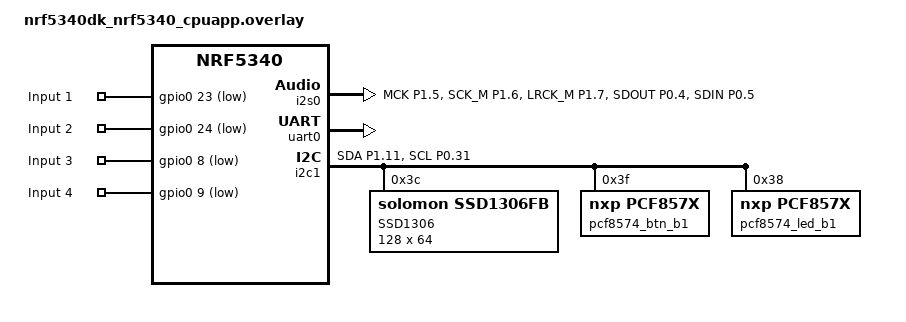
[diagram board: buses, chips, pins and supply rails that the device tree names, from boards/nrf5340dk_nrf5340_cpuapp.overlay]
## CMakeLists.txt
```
cmake_minimum_required(VERSION 3.20.0)
find_package(Zephyr REQUIRED HINTS $ENV{ZEPHYR_BASE})

project(wmic)

target_sources(app PRIVATE 
    src/main.c
    src/pages.c
    src/veeprom.c
    src/audio_drv/audio_drv.c
    src/DSP/low_pass_filter.c
    src/DSP/adt.c
    src/DSP/signals.c
    src/bluetooth_drv/bluetooth_drv.c
    src/display_drv/display_drv.c
    src/keypad_drv/keypad_drv.c
)

zephyr_library_include_directories(
  src/
  src/bluetooth_drv/
  src/DSP/
  src/audio_drv/
  src/display_drv/
  src/keypad_drv/ 
)

# Include the local CMSIS_DSP headers and compile only needed sources
zephyr_library_include_directories(
  ${CMAKE_CURRENT_SOURCE_DIR}/../modules/CMSIS_DSP/Include
  ${CMAKE_CURRENT_SOURCE_DIR}/../modules/CMSIS_DSP/PrivateInclude
)

# Compile only CMSIS_DSP Filtering Functions (FIR) and Support Functions needed
file(GLOB CMSIS_DSP_FILTERING_SOURCES 
  ${CMAKE_CURRENT_SOURCE_DIR}/../modules/CMSIS_DSP/Source/FilteringFunctions/arm_fir*.c
)

file(GLOB CMSIS_DSP_SUPPORT_SOURCES 
  ${CMAKE_CURRENT_SOURCE_DIR}/../modules/CMSIS_DSP/Source/SupportFunctions/arm_*_f32.c
  ${CMAKE_CURRENT_SOURCE_DIR}/../modules/CMSIS_DSP/Source/SupportFunctions/arm_*_q15.c
)

target_sources(app PRIVATE ${CMSIS_DSP_FILTERING_SOURCES} ${CMSIS_DSP_SUPPORT_SOURCES})
```

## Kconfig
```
#
# Copyright (c) 2018 Nordic Semiconductor ASA
#
# SPDX-License-Identifier: LicenseRef-Nordic-5-Clause
#

menuconfig NRF5340_AUDIO
	 bool "nRF5340 Audio [EXPERIMENTAL]"
	 select EXPERIMENTAL

if NRF5340_AUDIO

choice NRF5340_AUDIO_TRANSPORT_MODE
	prompt "Choose BIS or CIS for ISO transport"
	default TRANSPORT_CIS

config TRANSPORT_BIS
	bool "Use BIS (Broadcast Isochronous Stream)"

config TRANSPORT_CIS
	bool "Use CIS (Connected Isochronous Stream)"

endchoice

#----------------------------------------------------------------------------#
#rsource "src/audio/Kconfig"
#rsource "src/bluetooth/Kconfig"
#rsource "src/utils/Kconfig"

#----------------------------------------------------------------------------#
menu "Logging"

config LOG_MAIN_LEVEL
	int "Log level for main file"
	default 3

config PRINT_STACK_USAGE_MS
	depends on THREAD_ANALYZER && INIT_STACKS
	int "Print stack usage every x milliseconds"
	default 5000

endmenu # Log levels

#----------------------------------------------------------------------------#
endif # NRF5340_AUDIO

source "Kconfig.zephyr"
```

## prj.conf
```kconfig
### Logger module
CONFIG_LOG=n
CONFIG_UART_CONSOLE=n

### RTOS settings

# Zephyr configs
CONFIG_SYSTEM_WORKQUEUE_STACK_SIZE=2048
CONFIG_MAIN_STACK_SIZE=1024
CONFIG_ISR_STACK_SIZE=1024
CONFIG_REBOOT=y

# Zephyr peripheral drivers
CONFIG_GPIO=y
CONFIG_I2C=y
CONFIG_I2S=y
CONFIG_I2S_NRFX=y
CONFIG_SERIAL=y
CONFIG_UART_INTERRUPT_DRIVEN=y

# Zephyr display settings
CONFIG_DISPLAY=y
CONFIG_SSD1306=y
CONFIG_CHARACTER_FRAMEBUFFER=y
CONFIG_HEAP_MEM_POOL_SIZE=16384

### NRF settings
CONFIG_CLOCK_CONTROL_NRF_K32SRC_RC=y # Internal 32k RC clock enabled (needed if external clock misses to avoid clock errors at the startup)

### BLE settings

# Enable nrf BLE
# DEFAULT SETTINGS
# Broadcast support (BT_BROADCASTER) is enabled.
# The SoftDevice Controller is used (BT_LL_CHOICE = BT_LL_SOFTDEVICE).
# The TX Power is set to 0 dBm (BT_CTLR_TX_PWR = BT_CTLR_TX_PWR_0)
#CONFIG_BT=y
#CONFIG_BT_PERIPHERAL=y
#CONFIG_BT_DEVICE_NAME="WMic"

### Virtual EEPROM settings

CONFIG_NVS=y
CONFIG_FLASH=y
CONFIG_FLASH_MAP=y
CONFIG_MPU_ALLOW_FLASH_WRITE=y
CONFIG_PM_PARTITION_SIZE_NVS_STORAGE=0x57000
```

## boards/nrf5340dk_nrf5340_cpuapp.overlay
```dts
/ {
	chosen {
		zephyr,display = &ssd1306;
	};

    inputs {
        compatible = "gpio-keys";
        label = "User Inputs";

        input1: input_1 {
            gpios = <&gpio0 23 (GPIO_PULL_UP | GPIO_ACTIVE_LOW)>;
            label = "Input 1";
        };

        input2: input_2 {
            gpios = <&gpio0 24 (GPIO_PULL_UP | GPIO_ACTIVE_LOW)>;
            label = "Input 2";
        };

        input3: input_3 {
            gpios = <&gpio0 8 (GPIO_PULL_UP | GPIO_ACTIVE_LOW)>;
            label = "Input 3";
        };

        input4: input_4 {
            gpios = <&gpio0 9 (GPIO_PULL_UP | GPIO_ACTIVE_LOW)>;
            label = "Input 4";
        };
    };
};

&pinctrl {
	i2s0_default_alt: i2s0_default_alt {
		group1 {
			psels = <NRF_PSEL(I2S_MCK, 1, 5)>,
					<NRF_PSEL(I2S_SCK_M, 1, 6)>,
			        <NRF_PSEL(I2S_LRCK_M, 1, 7)>,
			        <NRF_PSEL(I2S_SDOUT, 0, 4)>,
			        <NRF_PSEL(I2S_SDIN, 0, 5)>;
		};
	};

	i2c1_default: i2c1_default {
		group1 {
			psels = <NRF_PSEL(TWIM_SDA, 1, 11)>,
				<NRF_PSEL(TWIM_SCL, 0, 31)>;
		};
	};

	i2c1_sleep: i2c1_sleep {
		group1 {
			psels = <NRF_PSEL(TWIM_SDA, 1, 11)>,
				<NRF_PSEL(TWIM_SCL, 0, 31)>;
			low-power-enable;
		};
	};
};

&i2s0 {
	status = "okay";
	pinctrl-0 = <&i2s0_default_alt>;
	pinctrl-names = "default";
	clock-source = "ACLK";
};

&uart0 {
	compatible = "nordic,nrf-uarte";
	reg = <0x8000 0x1000>;
	interrupts = <8 NRF_DEFAULT_IRQ_PRIORITY>;
	status = "okay";
};

&i2c1 {
	compatible = "nordic,nrf-twim";
	zephyr,concat-buf-size = <1030>;
	status = "okay";
	pinctrl-0 = <&i2c1_default>;
	pinctrl-1 = <&i2c1_sleep>;
	pinctrl-names = "default", "sleep";

    ssd1306: ssd1306@3c {
        compatible = "solomon,ssd1306fb";
        reg = <0x3c>;
        label = "SSD1306";
        height = <64>;
        width  = <128>;
        segment-offset  = <0>;
        page-offset     = <0>;
        display-offset  = <0>;
        multiplex-ratio = <63>;
        prechargep      = <0xD1>;
        segment-remap;
        com-invdir;
        com-sequential;
    };

	pcf8574_btn_b1: pcf8574@3F {
		compatible = "nxp,pcf857x";
		reg = <0x3F>;
		gpio-controller;
		ngpios = <8>;
		#gpio-cells = <2>;
	};

	pcf8574_led_b1: pcf8574@38 {
		compatible = "nxp,pcf857x";
		reg = <0x38>;
		gpio-controller;
		ngpios = <8>;
		#gpio-cells = <2>;
	};
};

&clock{
	hfclkaudio-frequency = <11289600>;
};
```

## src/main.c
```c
/*
 *⠀⠀⠀⠀⠀⠀⠀⠀⠀⠀⠀⠀⠀⠀⣠⣤⣶⣶⣦⣄⣀⠀⠀⠀⠀⠀⠀⠀⠀⠀
 *⠀⠀⠀⠀⠀⠀⠀⠀⠀⠀⠀⠀⠀⢰⣿⣿⣿⣿⣿⣿⣿⣷⣦⡀⠀⠀⠀⠀⠀⠀
 *⠀⠀⠀⠀⠀⠀⠀⠀⠀⠀⠀⠀⢠⣷⣤⠀⠈⠙⢿⣿⣿⣿⣿⣿⣦⡀⠀⠀⠀⠀
 *⠀⠀⠀⠀⠀⠀⠀⠀⠀⠀⠀⣠⣿⣿⣿⠆⠰⠶⠀⠘⢿⣿⣿⣿⣿⣿⣆⠀⠀⠀
 *⠀⠀⠀⠀⠀⠀⠀⠀⠀⢀⣼⣿⣿⣿⠏⠀⢀⣠⣤⣤⣀⠙⣿⣿⣿⣿⣿⣷⡀⠀
 *⠀⠀⠀⠀⠀⠀⠀⠀⢠⠋⢈⣉⠉⣡⣤⢰⣿⣿⣿⣿⣿⣷⡈⢿⣿⣿⣿⣿⣷⡀
 *⠀⠀⠀⠀⠀⠀⠀⡴⢡⣾⣿⣿⣷⠋⠁⣿⣿⣿⣿⣿⣿⣿⠃⠀⡻⣿⣿⣿⣿⡇
 *⠀⠀⠀⠀⠀⢀⠜⠁⠸⣿⣿⣿⠟⠀⠀⠘⠿⣿⣿⣿⡿⠋⠰⠖⠱⣽⠟⠋⠉⡇
 *⠀⠀⠀⠀⡰⠉⠖⣀⠀⠀⢁⣀⠀⣴⣶⣦⠀⢴⡆⠀⠀⢀⣀⣀⣉⡽⠷⠶⠋⠀
 *⠀⠀⠀⡰⢡⣾⣿⣿⣿⡄⠛⠋⠘⣿⣿⡿⠀⠀⣐⣲⣤⣯⠞⠉⠁⠀⠀⠀⠀⠀
 *⠀⢀⠔⠁⣿⣿⣿⣿⣿⡟⠀⠀⠀⢀⣄⣀⡞⠉⠉⠉⠉⠁⠀⠀⠀⠀⠀⠀⠀⠀
 *⠀⡜⠀⠀⠻⣿⣿⠿⣻⣥⣀⡀⢠⡟⠉⠉⠀⠀⠀⠀⠀⠀⠀⠀⠀⠀⠀⠀⠀⠀
 *⢰⠁⠀⡤⠖⠺⢶⡾⠃⠀⠈⠙⠋⠀⠀⠀⠀⠀⠀⠀⠀⠀⠀⠀⠀⠀⠀⠀⠀⠀
 *⠈⠓⠾⠇⠀⠀⠀⠀⠀⠀⠀⠀⠀⠀⠀⠀⠀⠀⠀⠀⠀⠀⠀⠀⠀⠀⠀⠀⠀⠀
 */

#include <zephyr/kernel.h>
#include <zephyr/devicetree.h>
#include <zephyr/device.h>
#include <zephyr/drivers/gpio.h>
#include <zephyr/drivers/uart.h>
#include <zephyr/drivers/i2c.h>
#include <zephyr/sys/printk.h>
#include <zephyr/sys/reboot.h>

#include <stdio.h>
#include <arm_math.h>

#include "config.h"
#include "veeprom.h"
#include "audio_drv.h"
#include "display_drv.h"
#include "keypad_drv.h"
#include "bluetooth_drv.h"
#include "signals.h"
#include "pages.h"
#if (ENABLE_DSP_FILTER)
#include "low_pass_filter.h"
#endif // ENABLE_DSP_FILTER
#include "adt.h"

enum mem_action_e
{
    BUFFER_WRITE,
    MEM_WRITE,
    MEM_READ,
};

#define WORKQ_PERIOD_MS 100

#define SAMPLES_IN_1S 44100
#define SAMPLES_IN_25MS 1100

#define ADDRESSES_IN_1S (SAMPLES_IN_1S / SAMPLES_IN_25MS)
#define WORQ_CYCLES_1S_REC ADDRESSES_IN_1S

const float max = MAX_LIMIT;
const float min = MIN_LIMIT;

// LED data structures
const struct gpio_dt_spec led = GPIO_DT_SPEC_GET(DT_NODELABEL(led1), gpios);

// Buttons state variables
static enum buttons_status_e button_status = BUTTON_NONE;

// Bluetooth peers data structures
struct bluetooth_peers_struct bluetooth_peers_handler = {
    .peers_p = NULL,
    .peer_idex = 0,
    .peers_n = 0,
    .peer_cb_exit = false};

static int64_t display_stb_timer = 0;

#if (TEST_REC)
struct rec_track_struct
{
    uint32_t mem_address[ADDRESSES_IN_1S];
    int mem_id;
    int16_t *data_store;
    enum rec_status_e *status;
};
static struct rec_track_struct rec_track[TRACK_RECORD_NUM] = {0};
static enum rec_track_id track_id_current = TRACK1;

static int16_t rec_data[SAMPLES_IN_1S] = {0};
static int rec_data_index_read = 0;
static int rec_data_index_write = 0;
static int16_t rec_sample = 0;
#endif // TEST_REC

// I2S data structures
const struct device *i2s_dev = DEVICE_DT_GET(DT_NODELABEL(i2s0));

// UART data structures
const struct device *uart0_dev = DEVICE_DT_GET(DT_NODELABEL(uart0));

// I2C data structures
const struct device *i2c1_dev = DEVICE_DT_GET(DT_NODELABEL(i2c1));

// Audio effects data structures
static audio_effects_handler_t audio_effects_handler = {
    .adt_set = {.EnDis = 0, .delay = 0, .fading_lev = 0},
    .tone_set = {.EnDis = 0, .tone = TONE_NONE},
    .rec_set = {.EnDis = 0, .track1 = REC_NONE, .track2 = REC_NONE, .track3 = REC_NONE, .track4 = REC_NONE}};

static void workq_100ms(struct k_work *work);

#if (ENABLE_DSP_FILTER)
static void dsp_filter_init();
static void dsp_filter(int32_t *sample);
#endif // ENABLE_DSP_FILTER
static void dsp_adt_init(void);
static void dsp_adt(int32_t *sample);
static void dsp_tone_gen(int32_t *sample);
static void dsp_rec_init(void);
static void dsp_rec(void *sample, int size_bytes, enum mem_action_e action);
static void dsp_amplifier(int32_t *sample);

static int gpios_init(void);
static int display_and_keypad(void);
static int bt_init(void);
static int audio_init(void);

static void inputs_handler_cb(void);
static void page_handler(void);
static void data_elab(int32_t *pmem, uint32_t block_size);
static uint16_t bt_peer_select(const struct bluetooth_peers *peers, const int16_t *size);

static void display_stb(void);

static void system_fault_handler(void);

K_WORK_DELAYABLE_DEFINE(workq, workq_100ms);

int main(void)
{
    // VEEPROM init
    veeprom_init();

#if (TEST_REC)
    dsp_rec_init();
#endif // TEST_REC

    // Filter init
#if (ENABLE_DSP_FILTER)
    dsp_filter_init();
#endif // ENABLE_DSP_FILTER

    // GPIOS init
    if (gpios_init() != 0)
    {
        printk("GPIO init failed, resetting...\n");
        system_fault_handler();
    }

    // display init
    if (display_and_keypad() != 0)
    {
        printk("Display and keypad init failed, resetting...\n");
        system_fault_handler();
    }

    // Schedule 100ms work queue
    k_work_schedule(&workq, K_SECONDS(1));

    // Bluetooth init
    if (bt_init() != 0)
    {
        printk("Bluetooth init failed, resetting...\n");
    }

    // Audio init
    if (audio_init() != 0)
    {
        printk("Audio init failed, resetting...\n");
        system_fault_handler();
    }

    k_sleep(K_MSEC(500));

    // App is running
    gpio_pin_set(led.port, led.pin, 1);

    while (1)
    {
        k_sleep(K_FOREVER);
    }
    return 0;
}

/**
 * @brief workq_100ms
 *
 * @param work
 */
static void workq_100ms(struct k_work *work)
{
    // ADT init
    if (audio_effects_handler.adt_set.EnDis > 0)
    {
        dsp_adt_init();
    }

    // Inputs handler
    inputs_handler_cb();

    // Pages handler
    page_handler();

    // Display standby after long inactivity
    display_stb();

#if (TEST_REC)
    /*
     * 44100 samples = 88200 Bytes = 1S
     * 1100 samples = 2200 Bytes about 25ms
     *
     * It will take about 4s to save 1s recording
     */
    if (audio_effects_handler.rec_set.EnDis > 0)
    {
        dsp_rec(NULL, SAMPLES_IN_25MS * sizeof(int16_t), MEM_WRITE);
    }
#endif // TEST_REC

    k_work_schedule(&workq, K_MSEC(WORKQ_PERIOD_MS));
}

#if (ENABLE_DSP_FILTER)
/**
 * @brief dsp_filter_init
 *
 * @return void
 */
static void dsp_filter_init(void)
{
    lowpass_filter_init(1); // block_len = 1
    return;
}

/**
 * @brief dsp_filter
 *
 * @return void
 */
static void dsp_filter(int32_t *sample)
{
    float32_t data_f32 = 0.0;
    q15_t data_q15;
    q15_t out;
    int32_t filtered;

#if (ENABLE_STEREO_DIFF)
    data_f32 = ((sample[0]) / (float32_t)2147483648); // Normalization from int32 to float32 (range -1.0 to 1.0)
    arm_float_to_q15(&data_f32, &data_q15, 1);        // Conversion from float32 to 15
    lowpass_filter_exc(&data_q15, &out);
    filtered = (int32_t)(out * (65536)); // Conversion from q15 to int32 (2147483648 / 32768 = 65536)
    sample[0] = filtered;                // Left channel
    sample[1] = filtered;                // Right channel (equal to left)
#else
    // Left channel
    data_f32 = ((sample[0]) / (float32_t)2147483648);
    arm_float_to_q15(&data_f32, &data_q15, 1);
    lowpass_filter_exc(&data_q15, &out);
    sample[0] = (int32_t)(out * (2147483648 / 32768));

    // Right channel
    data_f32 = ((sample[1]) / (float32_t)2147483648);
    arm_float_to_q15(&data_f32, &data_q15, 1);
    lowpass_filter_exc(&data_q15, &out);
    sample[1] = (int32_t)(out * (2147483648 / 32768));
#endif // ENABLE_STEREO_DIFF

    return;
}
#endif // ENABLE_DSP_FILTER

/**
 * @brief dsp_adt_init
 *
 */
static void dsp_adt_init(void)
{
    uint16_t delay = (audio_effects_handler.adt_set.delay * 100);
    adt_init(delay);
}

/**
 * @brief dsp_adt
 *
 * @param sample
 */
static void dsp_adt(int32_t *sample)
{
    adt_store_sample(sample[0]);
    sample[1] = (adt_get_sample() >> audio_effects_handler.adt_set.fading_lev);
}

/**
 * @brief dsp_amplifier
 *
 * @param sample
 */
static void dsp_amplifier(int32_t *sample)
{
    uint32_t voice = ((*sample) < 0) ? -(*sample) : (*sample);

    if (voice < 200)
    {
        *sample = 0;
    }
    else
    {
        *sample <<= AMP_FACTOR;
    }

    return;
}

/**
 * @brief dsp_tone_gen
 */
static void dsp_tone_gen(int32_t *sample)
{
    int32_t tone_samp = (int32_t)(signals_get_sample(audio_effects_handler.tone_set.tone) *
                                  (float32_t)22767); // Conversion from float32 (range -1.0 to 1.0) to int16

    /*
     * Shift to upper 16 bits (according to bluetooth module data format)
     * Reduced to 10 bits shift to reduce amplification
     */
    tone_samp = (tone_samp << 10);
    sample[0] += tone_samp;
    sample[1] -= tone_samp;
}

/**
 * @brief dsp_rec_init
 */
static void dsp_rec_init(void)
{
    rec_track[0] = (struct rec_track_struct){
        .mem_address = {0},
        .mem_id = 0,
        .data_store = rec_data,
        .status = &audio_effects_handler.rec_set.track1};

    rec_track[1] = (struct rec_track_struct){
        .mem_address = {0},
        .mem_id = 0,
        .data_store = rec_data,
        .status = &audio_effects_handler.rec_set.track2};
}

/**
 * @brief dsp_rec
 *
 * @param sample
 * @param size
 * @param action
 */
static void dsp_rec(void *sample, int size_bytes, enum mem_action_e action)
{
    uint32_t samples_num = (size_bytes / sizeof(int16_t)); // Number of 16 bits samples in the block

    if (action == MEM_WRITE)
    {
        if ((rec_track[track_id_current].mem_id < WORQ_CYCLES_1S_REC) &&
            (*(rec_track[track_id_current].status) == REC_READY))
        {
            rec_track[track_id_current].mem_address[rec_track[track_id_current].mem_id] = veeprom_write(rec_track[track_id_current].data_store, size_bytes);
            rec_track[track_id_current].mem_id++;
            rec_track[track_id_current].data_store = (rec_track[track_id_current].data_store + samples_num);
        }
    }
    else if (action == MEM_READ)
    {
        if ((rec_data_index_read < SAMPLES_IN_1S) &&
            (*(rec_track[track_id_current].status) == REC_RUN))
        {
            veeprom_read(rec_track[track_id_current].mem_address[0] + rec_data_index_read * size_bytes, &rec_sample, size_bytes);
            ((int32_t *)sample)[0] = (rec_sample << (16 - 2)); // Deamplification of 2 bits
            ((int32_t *)sample)[1] = 0;
            rec_data_index_read++;
        }
        else if (rec_data_index_read >= SAMPLES_IN_1S ||
                 *(rec_track[track_id_current].status) != REC_RUN)
        {
            rec_data_index_read = 0;
            return;
        }
    }
    else if (action == BUFFER_WRITE)
    {
        if ((rec_data_index_write < SAMPLES_IN_1S) &&
            (*(rec_track[track_id_current].status) == REC_START))
        {
            rec_data[rec_data_index_write] = (int16_t)(((int32_t *)sample)[0] >> 16);
            rec_data_index_write++;
        }
        else if (*(rec_track[track_id_current].status) != REC_START)
        {
            rec_data_index_write = 0;
            return;
        }
    }
}

/**
 * @brief gpios_init
 *
 * @return int
 */
static int gpios_init(void)
{
    // Signaling LED
    if (!gpio_is_ready_dt(&led))
    {
        return -1;
    }
    gpio_pin_configure_dt(&led, GPIO_OUTPUT_ACTIVE);

    return 0;
}

/**
 * @brief display_and_keypad
 *
 * @return int
 */
static int display_and_keypad(void)
{
    // Check device is ready
    if (!device_is_ready(i2c1_dev))
    {
        printf("I2C device not ready\n");
        return -1;
    }

    if ((display_drv_config() < 0) || (keypad_drv_config() < 0))
    {
        return -1;
    }

    return 0;
}

/**
 * @brief bt_init
 *
 * @return int
 */
static int bt_init(void)
{
    // Check device is ready
    if (!device_is_ready(uart0_dev))
    {
        printf("UART device not ready\n");
        return -1;
    }

    return bluetooth_drv_config(uart0_dev, bt_peer_select, TXRX_MODULE);
}

/**
 * @brief audio_init
 *
 * @return int
 */
static int audio_init(void)
{
    // Check device is ready
    if (!device_is_ready(i2s_dev))
    {
        printf("I2S device not ready\n");
        return -1;
    }

    return audio_drv_config(i2s_dev, data_elab);
}

/**
 * @brief data_elab
 *
 * @return void
 */
static void data_elab(int32_t *pmem, uint32_t block_size)
{
    int samples_2ch_num = (block_size / sizeof(int32_t)); // Number of 32 bits samples in 2 channels

#if (ENABLE_SIGNAL_GEN)
    for (int i = 0; i < samples_2ch_num - 1; i += 2)
    {
        pmem[i] = (int32_t)(signals_get_sample() * (float32_t)22767); // Conversion from float32 (range -1.0 to 1.0) to int16
        pmem[i] = (pmem[i] << 16);                                    // Shift to upper 16 bits (according to bluetooth module data format)
        pmem[i + 1] = pmem[i];                                        // Right channel equal to left channel
#if (ENABLE_DSP_FILTER)
        dsp_filter(&pmem[i]);
#endif // ENABLE_DSP_FILTER
    }
#else
    for (int i = 0; i < samples_2ch_num - 1; i += 2)
    {
#if (TEST_REC)
        // Read the sample from the recording buffer and save it into the sample to be processed
        dsp_rec(&pmem[i], sizeof(int16_t), MEM_READ);
#endif // TEST_REC

        if (audio_effects_handler.tone_set.EnDis > 0)
        {
            dsp_tone_gen(&pmem[i]);
        }

        if ((pmem[i] <= max) && (pmem[i] >= min))
        {
            dsp_amplifier(&pmem[i]);
            dsp_amplifier(&pmem[i + 1]);
        }
#if (ENABLE_STEREO_DIFF)
        int32_t diff = (pmem[i + 1] - pmem[i]); // right - left
        pmem[i] = diff;
        pmem[i + 1] = diff;
#endif // ENABLE_STEREO_DIFF
#if (ENABLE_DSP_FILTER)
        dsp_filter(&pmem[i]);
#endif // ENABLE_DSP_FILTER
        if (audio_effects_handler.adt_set.EnDis > 0)
        {
            dsp_adt(&pmem[i]);
        }
#if (TEST_REC)
        if ((audio_effects_handler.rec_set.EnDis > 0))
        {
            // Save the sample into the recording buffer
            dsp_rec(&pmem[i], sizeof(int16_t), BUFFER_WRITE);
        }
#endif // TEST_REC
    }
#endif // ENABLE_SIGNAL_GEN
}

/**
 * @brief bt_peer_select
 *
 * @param peers
 * @param size
 * @return uint16_t
 */
static uint16_t bt_peer_select(const struct bluetooth_peers *peers, const int16_t *size)
{
    uint8_t selected_peer;

    bluetooth_peers_handler.peer_idex = 0;

    pages_set_current_page(PEERS_PAGE);
    bluetooth_peers_handler.peers_p = peers; // Store peers in a global variable to be used in the page handler and in the inputs handler callback

    // Set a string to be shown onto the display
    display_drv_strToShow(bluetooth_peers_handler.peers_p[bluetooth_peers_handler.peer_idex].name);
    display_drv_event_set(SHOW_STRING);

    while (bluetooth_peers_handler.peer_cb_exit == false)
    {
        k_sleep(K_MSEC(300));                    // Gives time to the bluetooth thread to check for other peers
        bluetooth_peers_handler.peers_n = *size; // Update the number of peers
        bluetooth_drv_at_send("SCAN=1");
    }

    selected_peer = bluetooth_peers_handler.peer_idex;
    bluetooth_peers_handler.peer_idex = 0;        // Reset the peer index
    bluetooth_peers_handler.peers_n = 0;          // Reset the number of peers
    bluetooth_peers_handler.peer_cb_exit = false; // Reset the peer callback exit flag
    return selected_peer;
}

/**
 * @brief inputs_handler_cb
 *
 */
static void inputs_handler_cb(void)
{
    enum buttons_e inputs_state = keypad_drv_btn_read();
    button_status = BUTTON_NONE;

    if (inputs_state != BUTTON_NO)
    {
        // Turn on the display
        display_drv_turn_on();

        // Reset the timer
        display_stb_timer = k_uptime_get();
    }

    switch (inputs_state)
    {
    case BUTTON_1:
        keypad_drv_led_set(LED_0);
        button_status = BUTTON_USER_2;
        //button_status = BUTTON_RIGHT;
        break;
    case BUTTON_2:
        keypad_drv_led_set(LED_1);
        button_status = BUTTON_USER_3;
        //button_status = BUTTON_LEFT;
        break;
    case BUTTON_3:
        keypad_drv_led_set(LED_2);
        button_status = BUTTON_USER_4;
        break;
    case BUTTON_4:
        keypad_drv_led_set(LED_3);
        button_status = BUTTON_USER_1;
        //button_status = BUTTON_UP;
        break;
    case BUTTON_5:
        button_status = BUTTON_RIGHT;
        break;
    case BUTTON_6:
        //keypad_drv_led_set(LED_4);
        break;
    case BUTTON_7:
        button_status = BUTTON_DOWN;
        break;
    case BUTTON_8:
        //keypad_drv_led_set(LED_6);
        break;
    case BUTTON_9:
        button_status = BUTTON_UP;
        break;
    case BUTTON_10:
        button_status = BUTTON_LEFT;
        break;
    case BUTTON_11:
        button_status = BUTTON_DOWN;
        break;
    case BUTTON_12:
        button_status = BUTTON_SET;
        break;
    default:
        keypad_drv_led_clear(ALL_LED);
        break;
    }
}

/**
 * @brief page_handler
 *
 */
static void page_handler(void)
{
    switch (pages_get_current_page())
    {
    case DEMO_PAGE:
        break;
    case PEERS_PAGE:
        pages_peers_page(button_status, &bluetooth_peers_handler);
        break;
    case ADT_PAGE:
        pages_adt_page(button_status, &audio_effects_handler.adt_set);
        break;
    case TONE_GEN_PAGE:
        pages_tones_page(button_status, &audio_effects_handler.tone_set);
        break;
    case REC_PAGE:
        track_id_current = pages_rec_page(button_status, &audio_effects_handler.rec_set);
        break;
    default:
        break;
    }
}

/**
 * @brief idle_hook
 *
 */
static void display_stb(void)
{
    if (pages_get_current_page() != PEERS_PAGE)
    {

        // Turn off the display after 10s of inactivity
        if (display_drv_get_status() != DISPLAY_OFF)
        {
            if ((k_uptime_get() - display_stb_timer) > DISPLAY_STB_TIME_MS)
            {
                display_drv_turn_off();
            }
        }
        else
        {
            // Do nothing
        }
    }
}

/**
 * @brief system_fault_handler
 *
 */
static void system_fault_handler(void)
{
    k_sleep(K_MSEC(500));
    sys_reboot(SYS_REBOOT_COLD);
}
```

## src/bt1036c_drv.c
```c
#include "bt1036c_drv.h"

#include <zephyr/kernel.h>
#include <zephyr/drivers/uart.h>

#include <stdlib.h>
#include <string.h>
#include <stdint.h>

#define RX_BUFF_SIZE 500

#define BT1036C_DECODE_THREAD_STACK 512
K_THREAD_STACK_DEFINE(bt1036c_decode_stack, BT1036C_DECODE_THREAD_STACK);

K_SEM_DEFINE(uart_sem, 0, 1);

static struct k_thread bt1036c_decode_tcb;

static struct device *uart_int;

struct bt1036c_status_handler
{
    int devstat;
    int pwrstat;
    char ver[64];
    int profile;
    int sppstat;
    int gattstat;
    int a2dpstat;
    int avrcpstat;
    int hfpstat;
    int pbstat;
    int ok;
    char name[30];
} bt1036c_status = {0};

static void uart_write_str(const char *s);
static int decode_bt1036c_data(char *s);
static void bt1036c_decode_thread(void *a, void *b, void *c);
static void uart_irq_cb(const struct device *dev, void *user_data);

/* Temporary buffer used to read from FIFO in IRQ context */
static uint8_t irq_buf[64];
static uint8_t cmd_buff_rx[RX_BUFF_SIZE];
static uint16_t rx_buff_idx = 0;

void bt1036c_config(struct device *uart)
{
    uart_int = uart;

    uart_irq_callback_user_data_set(uart, uart_irq_cb, NULL);
    uart_irq_rx_enable(uart);

    k_thread_create(&bt1036c_decode_tcb,
                    bt1036c_decode_stack,
                    BT1036C_DECODE_THREAD_STACK,
                    bt1036c_decode_thread,
                    NULL, NULL, NULL,
                    5, 0, K_NO_WAIT);
    k_sleep(K_MSEC(2000));
    //bt1036c_at_send("NAME=Sound Tx,0");
    //bt1036c_at_send("NAME");
}

void bt1036c_at_send(const char *cmd)
{
    char buffer[100];
    strcpy(buffer, "AT+");
    strncat(buffer, cmd, sizeof(buffer) - strlen(buffer) - 1);
    strncat(buffer, "\r\n", sizeof(buffer) - strlen(buffer) - 1);
    uart_write_str(buffer);
}

static void bt1036c_decode_thread(void *a, void *b, void *c)
{
    static uint16_t decode_idx = 0; 
    char payload[100];

    while (1)
    {
        k_sem_take(&uart_sem, K_FOREVER);
        uint16_t dist = (rx_buff_idx + RX_BUFF_SIZE - decode_idx) % RX_BUFF_SIZE;
        if (dist > 2)
        {
            uint16_t next = (decode_idx + 1) % RX_BUFF_SIZE;

            if (cmd_buff_rx[decode_idx] == '\r' &&
                cmd_buff_rx[next] == '\n')
            {
                uint16_t i = (decode_idx + 2) % RX_BUFF_SIZE;
                uint16_t payload_idx = 0;

                while (i != rx_buff_idx)
                {
                    char c = cmd_buff_rx[i];

                    if (c == '\n')
                    {
                        payload[payload_idx] = '\0'; 
                        decode_bt1036c_data(payload);
                        decode_idx = (i + 1) % RX_BUFF_SIZE;
                        break;
                    }

                    if (c != '\r' && payload_idx < sizeof(payload) - 1)
                    {
                        payload[payload_idx++] = c;
                    }

                    i = (i + 1) % RX_BUFF_SIZE;
                }
            }
            else
            {
                while((cmd_buff_rx[decode_idx] != '\r') || (cmd_buff_rx[next] != '\n'))
                {
                    if(next != rx_buff_idx)
                    {
                        decode_idx = next;
                        next = (decode_idx + 1) % RX_BUFF_SIZE;
                    }
                    else
                    {
                        break;
                    }
                }
            }
        }
        k_sleep(K_MSEC(10));
    }
}

static void uart_irq_cb(const struct device *dev, void *user_data)
{
    ARG_UNUSED(user_data);

    if (!uart_irq_update(dev))
        return;

    while (uart_irq_rx_ready(dev))
    {
        int rx = uart_fifo_read(dev, irq_buf, sizeof(irq_buf));
        if (rx > 0)
        {
            int16_t space_remaining = (RX_BUFF_SIZE - rx_buff_idx);
            if (rx <= space_remaining)
            {
                memcpy(&cmd_buff_rx[rx_buff_idx], irq_buf, rx);
                rx_buff_idx += rx;
            }
            else
            {
                memcpy(&cmd_buff_rx[rx_buff_idx], irq_buf, space_remaining);
                rx_buff_idx = 0;
                memcpy(&cmd_buff_rx[rx_buff_idx], irq_buf, (rx - space_remaining));
                rx_buff_idx = (rx - space_remaining);
            }
            k_sem_give(&uart_sem);
        }
    }
}

static void uart_write_str(const char *s)
{
    for (size_t i = 0; i < strlen(s); i++)
    {
        uart_poll_out(uart_int, s[i]);
    }
}

static int decode_bt1036c_data(char *s)
{
    char cmd[20] = {0};
    char data[100] = {0};
    char *cmd_end = strchr(s, '=');
    char *data_start = NULL;

    if (!cmd_end)
    {
        /* OK */
        if (strcmp(s, "OK") == 0)
        {
            bt1036c_status.ok = 1;
            return 0;
        }
        else
        {
            return -1;
        }
    }

    data_start = cmd_end + 1;

    int len = cmd_end - s;
    memcpy(cmd, s, len);
    cmd[len] = '\0';

    strcpy(data, data_start);

    /* +DEVSTAT */
    if (strcmp(cmd, "+DEVSTAT") == 0)
    {
        bt1036c_status.devstat = atoi(data);
        return 0;
    }

    /* +PWRSTAT */
    if (strcmp(cmd, "+PWRSTAT") == 0)
    {
        bt1036c_status.pwrstat = atoi(data);
        return 0;
    }

    /* +VER */
    if (strcmp(cmd, "+VER") == 0)
    {
        strncpy(bt1036c_status.ver, data, sizeof(bt1036c_status.ver)-1);
        return 0;
    }

    /* +PROFILE */
    if (strcmp(cmd, "+PROFILE") == 0)
    {
        bt1036c_status.profile = atoi(data);
        return 0;
    }

    /* +SPPSTAT */
    if (strcmp(cmd, "+SPPSTAT") == 0)
    {
        bt1036c_status.sppstat = atoi(data);
        return 0;
    }

    /* +GATTSTAT */
    if (strcmp(cmd, "+GATTSTAT") == 0)
    {
        bt1036c_status.gattstat = atoi(data);
        return 0;
    }

    /* +A2DPSTAT */
    if (strcmp(cmd, "+A2DPSTAT") == 0)
    {
        bt1036c_status.a2dpstat = atoi(data);
        return 0;
    }

    /* +AVRCPSTAT */
    if (strcmp(cmd, "+AVRCPSTAT") == 0)
    {
        bt1036c_status.avrcpstat = atoi(data);
        return 0;
    }

    /* +HFPSTAT */
    if (strcmp(cmd, "+HFPSTAT") == 0)
    {
        bt1036c_status.hfpstat = atoi(data);
        return 0;
    }

    /* +PBSTAT */
    if (strcmp(cmd, "+PBSTAT") == 0)
    {
        bt1036c_status.pbstat = atoi(data);
        return 0;
    }

    /* +NAME */
    if (strcmp(cmd, "+NAME") == 0)
    {
        strncpy(bt1036c_status.name, data, sizeof(bt1036c_status.name)-1);
        return 0;
    }    

    return -1;
}
```

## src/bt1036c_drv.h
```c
/* bt1036c_drv.h - Driver header for BT1036C */
#ifndef BT1036C_DRV_H
#define BT1036C_DRV_H

#include <zephyr/device.h>
#include <stddef.h>
#include <stdint.h>

#define A2DP_SOURCE_PROFILE "339"

#ifdef __cplusplus
extern "C" {
#endif

void bt1036c_config(struct device *uart);
void bt1036c_at_send(const char *cmd);

#ifdef __cplusplus
}
#endif

#endif /* BT1036C_DRV_H */
```

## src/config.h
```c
#include "bluetooth_drv.h"

#define TEST_REC true

#define TXRX_MODULE BT103036C_CONFIG_TX
#define ENABLE_DSP_FILTER false
#define ENABLE_STEREO_DIFF true
#define ENABLE_SIGNAL_GEN false

// Display defines
#define DISPLAY_STB_TIME_MS 10000

// Audio defines
#define AMP_FACTOR 3 // NOTE; I2S data are 32 bit in size, only 24 lower bit are valid, but bt module considers only 16 higher bit in a 32 bit data
#define MAX_LIMIT (INT32_MAX / (pow(2, AMP_FACTOR)))
#define MIN_LIMIT (INT32_MIN / (pow(2, AMP_FACTOR)))
```

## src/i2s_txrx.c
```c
/* System */
#include <zephyr/device.h>
/* Standard C libraries */
#include <stdio.h>
/* Debug support */
#include <zephyr/sys/printk.h>

#include "i2s_txrx.h"

/**
 * @brief i2s_config
 *
 * @return int
 */
int i2s_config(i2s_drv_config_t *hi2s)
{
    if (i2s_configure(hi2s->dev_i2s, hi2s->i2s_cfg_dir, hi2s->i2s_cfg) < 0)
    {
        printf("Failed to configure I2S\n");
        return -1;
    }
    return 0;
}

/**
 * @brief i2s_drv_write
 *
 * @return int
 */
int i2s_drv_txrx(i2s_drv_config_t *hi2s)
{
    void *mem_block;
    uint32_t block_size;

    if (i2s_read(hi2s->dev_i2s, &mem_block, &block_size) < 0)
        return -1;

    int32_t *pmem = (int32_t *)mem_block;
    
    hi2s->i2s_elab(pmem, block_size);

    if (i2s_write(hi2s->dev_i2s, mem_block, block_size) < 0)
        return -1;

    return 0;
}

/**
 * @brief i2s_trigger_txrx
 *
 * @param hi2s
 * @return int
 */
int i2s_trigger_txrx(i2s_drv_config_t *hi2s)
{
    if (i2s_trigger(hi2s->dev_i2s, I2S_DIR_BOTH, I2S_TRIGGER_START) < 0)
    {
        printf("Could not trigger TX I2S\n");
        return -1;
    }
    return 0;
}
```

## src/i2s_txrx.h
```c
#ifndef I2S_RXTX
#define I2S_RXTX

/* System */
#include <zephyr/kernel.h>
#include <zephyr/drivers/i2s.h>

/* Support */
#include <math.h>
#include <limits.h>

/* I2S defines */
#define CHANNELS_NUMBER 2
#define SAMPLE_FREQ 41670 // Calculated via script octave
#define I2S_WORD_BYTES 4  // 32 bits word
#define I2S_RX_DELAY 2000 // After this time, i2s_read and i2s_write gives an error

/* Buffer defines */
#define BUFFER_BLOCK_TIME_MS 100
#define DATA_BUFFER_SIZE (SAMPLE_FREQ * BUFFER_BLOCK_TIME_MS / 1000)
#define INITIAL_BLOCKS 2
#define AVAILABLE_BLOCKS 5
#define NUM_BLOCKS (INITIAL_BLOCKS + AVAILABLE_BLOCKS)
#define BLOCK_SIZE (CHANNELS_NUMBER * DATA_BUFFER_SIZE * I2S_WORD_BYTES)

typedef void (*pi2s_elab)(int32_t *pmem, uint32_t block_size);

typedef struct
{
    const struct device *dev_i2s;
    struct i2s_config *i2s_cfg;
    uint8_t i2s_cfg_dir;
    pi2s_elab i2s_elab;
} i2s_drv_config_t;

int i2s_config(i2s_drv_config_t *hi2s);
int i2s_drv_txrx(i2s_drv_config_t *hi2s);
int i2s_trigger_txrx(i2s_drv_config_t *hi2s);

#endif /* I2S_RXTX */
```

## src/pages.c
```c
#include "pages.h"

#include <string.h>
#include <stdio.h>

#include "bluetooth_drv.h"
#include "display_drv.h"
#include "signals.h"

#define ADT_IDX_NUM 3

static enum pages_e current_page = PEERS_PAGE;
static uint8_t page_changed_flag = 1;

static void switch_page(int8_t incDec);

/**
 * @brief pages_demo_page
 *
 * @param idx
 */
void pages_demo_page(uint8_t EnDis, uint8_t idx, int v1, int v2, int v3, int v4)
{
    display_pages_t page;

    strcpy(page.title, "DEMO");

    page.EnDis = EnDis;

    strcpy(page.par[0].title, "PAR1");
    strcpy(page.par[1].title, "PAR2");
    strcpy(page.par[2].title, "PAR3");
    strcpy(page.par[3].title, "PAR4");

    snprintf(page.par[0].val, sizeof(page.par[0].val), "%d", v1);
    snprintf(page.par[1].val, sizeof(page.par[1].val), "%d", v2);
    snprintf(page.par[2].val, sizeof(page.par[2].val), "%d", v3);
    snprintf(page.par[3].val, sizeof(page.par[3].val), "%d", v4);

    page.par_select = idx;
    display_drv_pageToShow(page);
    display_drv_event_set(SHOW_PAGE);
}

/**
 * @brief pages_peers_page
 *
 * @param button_status
 * @param peers_handler
 */
void pages_peers_page(enum buttons_status_e button_status,
                      struct bluetooth_peers_struct *peers_handler)
{
    uint8_t display_flag = 0;

    if (peers_handler->peers_n > 0)
    {
        if ((button_status == BUTTON_RIGHT) || (button_status == BUTTON_UP))
        {
            peers_handler->peer_idex = ((peers_handler->peer_idex + 1) % peers_handler->peers_n);
            display_flag = 1;
        }
        else if ((button_status == BUTTON_LEFT) || (button_status == BUTTON_DOWN))
        {
            peers_handler->peer_idex = (peers_handler->peer_idex == 0) ? (peers_handler->peers_n - 1) : (peers_handler->peer_idex - 1);
            display_flag = 1;
        }
        else if (button_status == BUTTON_SET)
        {
            peers_handler->peer_cb_exit = true; // Exit the peer selection loop in the bluetooth driver
            pages_set_current_page(ADT_PAGE);
            page_changed_flag = 1;
        }
    }

    if (display_flag == 1)
    {
        display_drv_strToShow(peers_handler->peers_p[peers_handler->peer_idex].name);
        display_drv_event_set(SHOW_STRING);
    }
}

/**
 * @brief pages_adt_page
 *
 * @param button_status
 * @param adt_set
 */
void pages_adt_page(enum buttons_status_e button_status,
                    struct adt_settings *adt_set)
{
    static uint8_t par_edit[ADT_IDX_NUM] = {0};

    uint8_t display_flag = 0;

    display_pages_t page;
    static uint8_t idx = 0;

    display_flag = page_changed_flag;
    page_changed_flag = 0;

    if (button_status == BUTTON_RIGHT)
    {
        if (par_edit[idx])
        {
            if (idx == 1)
                adt_set->delay++;
            else if (idx == 2)
                adt_set->fading_lev++;
            display_flag = 1;
        }
        else if (idx == 0)
            switch_page(1);
        else
            idx = (idx + 1) % ADT_IDX_NUM;
        display_flag = 1;
    }
    else if (button_status == BUTTON_LEFT)
    {
        if (par_edit[idx])
        {
            if (idx == 1)
                adt_set->delay--;
            else if (idx == 2)
                adt_set->fading_lev--;
            display_flag = 1;
        }
        else if (idx == 0)
            switch_page(-1);
        else
            idx = (idx == 0) ? (ADT_IDX_NUM - 1) : (idx - 1);
        display_flag = 1;
    }
    else if (button_status == BUTTON_UP)
    {
        if (par_edit[idx])
        {
            if (idx == 1)
                adt_set->delay++;
            else if (idx == 2)
                adt_set->fading_lev++;
        }
        else
            idx = (idx + 1) % ADT_IDX_NUM;
        display_flag = 1;
    }
    else if (button_status == BUTTON_DOWN)
    {
        if (par_edit[idx])
        {
            if (idx == 1)
                adt_set->delay--;
            else if (idx == 2)
                adt_set->fading_lev--;
        }
        else
            idx = (idx == 0) ? (ADT_IDX_NUM - 1) : (idx - 1);
        display_flag = 1;
    }
    else if (button_status == BUTTON_SET)
    {
        if (idx == 0)
        {
            adt_set->EnDis = !adt_set->EnDis;
            display_flag = 1;
        }
        else
        {
            par_edit[idx] = !par_edit[idx];
            display_flag = 1;
        }
    }

    if (display_flag)
    {
        strcpy(page.title, "ADT");

        page.EnDis = adt_set->EnDis;

        strcpy(page.par[0].title, "DEL;");
        strcpy(page.par[1].title, "AMP;");
        strcpy(page.par[2].title, "");
        strcpy(page.par[3].title, "");

        snprintf(page.par[0].val, sizeof(page.par[0].val), "%d", adt_set->delay);
        snprintf(page.par[1].val, sizeof(page.par[1].val), "%d", adt_set->fading_lev);
        snprintf(page.par[2].val, sizeof(page.par[2].val), "%c", '\0');
        snprintf(page.par[3].val, sizeof(page.par[3].val), "%c", '\0');

        page.par_select = idx;
        display_drv_pageToShow(page);
        display_drv_event_set(SHOW_PAGE);
    }
}

/**
 * @brief pages_tones_page
 *
 * @param button_status
 * @param tone_set
 */
void pages_tones_page(enum buttons_status_e button_status,
                      struct tone_settings *tone_set)
{
    static enum tone_e tone_previous = TONE_NONE;

    uint8_t display_flag = 0;
    display_pages_t page;

    display_flag = page_changed_flag;
    page_changed_flag = 0;

    if (button_status == BUTTON_RIGHT)
    {
        switch_page(1);
        display_flag = 1;
    }
    else if (button_status == BUTTON_LEFT)
    {
        switch_page(-1);
        display_flag = 1;
    }
    else if (button_status == BUTTON_SET)
    {
        tone_set->EnDis = !tone_set->EnDis;
        display_flag = 1;
    }
    else if (button_status == BUTTON_USER_1)
    {
        tone_set->tone = TONE_500HZ;
        display_flag = 1;
    }
    else if (button_status == BUTTON_USER_2)
    {
        tone_set->tone = TONE_1KHZ;
        display_flag = 1;
    }
    else
    {
        tone_set->tone = TONE_NONE;
    }

    if (tone_previous != tone_set->tone)
    {
        tone_previous = tone_set->tone;
        display_flag = 1;
    }

    if (display_flag)
    {
        strcpy(page.title, "TONES");

        page.EnDis = tone_set->EnDis;

        strcpy(page.par[0].title, "FREQ");
        strcpy(page.par[1].title, "");
        strcpy(page.par[2].title, "");
        strcpy(page.par[3].title, "");

        if (tone_set->tone == TONE_500HZ)
        {
            snprintf(page.par[0].val, sizeof(page.par[0].val), " 500");
        }
        else if (tone_set->tone == TONE_1KHZ)
        {
            snprintf(page.par[0].val, sizeof(page.par[0].val), " 1k");
        }
        else if (tone_set->tone == TONE_3KHZ)
        {
            snprintf(page.par[0].val, sizeof(page.par[0].val), " 3k");
        }
        else
        {
            snprintf(page.par[0].val, sizeof(page.par[0].val), " NO");
        }

        snprintf(page.par[1].val, sizeof(page.par[1].val), "%c", '\0');
        snprintf(page.par[2].val, sizeof(page.par[2].val), "%c", '\0');
        snprintf(page.par[3].val, sizeof(page.par[3].val), "%c", '\0');

        page.par_select = 0;
        display_drv_pageToShow(page);
        display_drv_event_set(SHOW_PAGE);
    }
}

/**
 * @brief pages_rec_page
 *
 * @param button_status
 * @param rec_set
 */
enum rec_track_id pages_rec_page(enum buttons_status_e button_status, struct rec_settings *rec_set)
{
    static enum buttons_status_e button_previous = BUTTON_NONE;
    static enum rec_track_id track_id_selected = TRACK1;

    uint8_t display_flag = 0;
    display_pages_t page;

    display_flag = page_changed_flag;
    page_changed_flag = 0;

    if (rec_set->EnDis > 0)
    {
        if (button_status != button_previous)
        {
            if (button_status == BUTTON_USER_1)
            {
                if (rec_set->track1 == REC_NONE)
                {
                    rec_set->track1 = REC_START;
                }
                else if (rec_set->track1 == REC_READY)
                {
                    rec_set->track1 = REC_RUN;
                }
                track_id_selected = TRACK1;
                display_flag = 1;
            }

            if (button_status == BUTTON_USER_2)
            {
                if (rec_set->track2 == REC_NONE)
                {
                    rec_set->track2 = REC_START;
                }
                else if (rec_set->track2 == REC_READY)
                {
                    rec_set->track2 = REC_RUN;
                }
                track_id_selected = TRACK2;
                display_flag = 1;
            }

            if (button_status == BUTTON_NONE)
            {
                if (button_previous == BUTTON_USER_1)
                {
                    if ((rec_set->track1 == REC_START) ||
                        (rec_set->track1 == REC_RUN))
                    {
                        rec_set->track1 = REC_READY;
                    }
                    track_id_selected = TRACK1;
                }
                else if (button_previous == BUTTON_USER_2)
                {
                    if ((rec_set->track2 == REC_START) ||
                        (rec_set->track2 == REC_RUN))
                    {
                        rec_set->track2 = REC_READY;
                    }
                    track_id_selected = TRACK2;
                }
                display_flag = 1;
            }
            button_previous = button_status;
        }
    }
    if (button_status == BUTTON_RIGHT)
    {
        switch_page(1);
        display_flag = 1;
    }
    else if (button_status == BUTTON_LEFT)
    {
        switch_page(-1);
        display_flag = 1;
    }
    else if (button_status == BUTTON_SET)
    {
        rec_set->EnDis = !rec_set->EnDis;
        display_flag = 1;
    }

    if (display_flag)
    {
        strcpy(page.title, "REC");

        page.EnDis = rec_set->EnDis;

        strcpy(page.par[0].title, "TRK1;");
        strcpy(page.par[1].title, "TRK2;");
        strcpy(page.par[2].title, "TRK3;");
        strcpy(page.par[3].title, "TRK4;");

        snprintf(page.par[0].val, sizeof(page.par[0].val), "%d", rec_set->track1);
        snprintf(page.par[1].val, sizeof(page.par[1].val), "%d", rec_set->track2);
        snprintf(page.par[2].val, sizeof(page.par[2].val), "%d", rec_set->track3);
        snprintf(page.par[3].val, sizeof(page.par[3].val), "%d", rec_set->track4);

        page.par_select = 0;
        display_drv_pageToShow(page);
        display_drv_event_set(SHOW_PAGE);
    }

    return track_id_selected;
}

/**
 * @brief set_current_page
 *
 * @param page
 */
void pages_set_current_page(enum pages_e page)
{
    current_page = page;
}

/**
 * @brief get_current_page
 *
 * @return enum pages_e
 */
enum pages_e pages_get_current_page(void)
{
    return current_page;
}

/**
 * @brief switch_page - circular page switch between ADT_PAGE and REC_PAGE
 *
 * @param incDec +1 to go forward, -1 to go backward
 */
static void switch_page(int8_t incDec)
{
    static uint8_t page_num = ADT_PAGE;

    page_num += incDec;

    if (page_num > REC_PAGE)
        page_num = ADT_PAGE;
    else if (page_num < ADT_PAGE)
        page_num = REC_PAGE;

    pages_set_current_page((enum pages_e)page_num);
    page_changed_flag = 1;
}
```

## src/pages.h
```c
#ifndef PAGES_H
#define PAGES_H

#include <stdint.h>
#include "signals.h"
#include "bluetooth_drv.h"

enum pages_e
{
    DEMO_PAGE,
    PEERS_PAGE,
    ADT_PAGE,
    TONE_GEN_PAGE, 
    REC_PAGE,
};

enum buttons_status_e
{
    BUTTON_NONE,
    BUTTON_RIGHT,
    BUTTON_LEFT,
    BUTTON_SET,
    BUTTON_UP,
    BUTTON_DOWN,
    BUTTON_USER_1,
    BUTTON_USER_2,
    BUTTON_USER_3,
    BUTTON_USER_4,
};

enum rec_status_e
{
    REC_NONE,
    REC_START,
    REC_READY,
    REC_RUN,
};

enum rec_track_id
{
    TRACK1 = 0,
    TRACK2,
    TRACK3,
    TRACK4,
    TRACK_RECORD_NUM
};

// Audio effects data structures
struct adt_settings
{
    uint8_t EnDis;
    uint8_t delay;
    uint8_t fading_lev;
};
struct tone_settings
{
    uint8_t EnDis;
    enum tone_e tone;
};
struct rec_settings
{
    uint8_t EnDis;
    enum rec_status_e track1;
    enum rec_status_e track2;
    enum rec_status_e track3;
    enum rec_status_e track4;
};
typedef struct 
{
    struct adt_settings adt_set;
    struct tone_settings tone_set;
    struct rec_settings rec_set;
} audio_effects_handler_t;

void pages_demo_page(uint8_t EnDis, uint8_t idx, int v1, int v2, int v3, int v4);
void pages_peers_page(enum buttons_status_e button_status, struct bluetooth_peers_struct *peers_handler);
void pages_adt_page(enum buttons_status_e button_status, struct adt_settings *adt_set);
void pages_tones_page(enum buttons_status_e button_status, struct tone_settings *tone_set);
enum rec_track_id pages_rec_page(enum buttons_status_e button_status, struct rec_settings *rec_set);
void pages_set_current_page(enum pages_e page);
enum pages_e pages_get_current_page(void);

#endif // PAGES_H
```

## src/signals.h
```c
/*
 * signals.h
 *
 *  Created on: Dec 10, 2025
 *      Author: andre
 */

#ifndef SIGNALS_H_
#define SIGNALS_H_

#include <stdint.h>

#define HZ_5_SIG_LEN 301
#define KHZ1_15_SIG_LEN 320
#define IMP_RSP_LENGTH	31

extern float LP_1HZ_2HZ_IMPULSE_RESPONSE[IMP_RSP_LENGTH];

#endif /* SIGNALS_H_ */
```

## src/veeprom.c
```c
#include "veeprom.h"

#include <zephyr/fs/nvs.h>
#include <zephyr/fs/fs.h>
#include <zephyr/storage/flash_map.h>
#include <zephyr/logging/log.h>
#include <zephyr/device.h>

#include <zephyr/drivers/flash.h>
#include <zephyr/storage/flash_map.h>

LOG_MODULE_REGISTER(veeprom, LOG_LEVEL_INF);

#define VEEPROM_SECTOR_SIZE 4096
#define VEEPROM_SECTOR_COUNT (CONFIG_PM_PARTITION_SIZE_NVS_STORAGE / VEEPROM_SECTOR_SIZE)

static const struct device *flash_dev;
static uint32_t flash_offset;
static uint32_t flash_size;

/**
 * @brief veeprom_init
 */
void veeprom_init(void)
{
    flash_dev = FLASH_AREA_DEVICE(storage);
    if (!flash_dev)
    {
        LOG_ERR("Flash device not found");
        return;
    }

    flash_offset = FLASH_AREA_OFFSET(storage);
    flash_size = FLASH_AREA_SIZE(storage);

    LOG_INF("Flash RAW storage at 0x%08x, size %u bytes",
            flash_offset, flash_size);
    
    /*
     * Clear flash sectors dedicated to VEEPROM
     *
     * NOTE: This is necessary to avoid data corruption when writing to flash,
     * as flash_write can only change bits from 1 to 0, and not from 0 to 1.
     */
    for (int i = 0; i < VEEPROM_SECTOR_COUNT; ++i)
    {
        flash_erase(flash_dev, flash_offset + (i * VEEPROM_SECTOR_SIZE), VEEPROM_SECTOR_SIZE);
    }
}

/**
 * @brief veeprom_write
 *
 * @param data
 * @param size
 * @return int
 */
int veeprom_write(const void *data, int size)
{
    static int new_start_address = 0;
    int address = new_start_address;

    flash_write(flash_dev, flash_offset + new_start_address,
                data, size);

    new_start_address += size;

    return  address;
}

/**
 * @brief veeprom_read
 *
 * @param address
 * @param data
 * @param size
 */
void veeprom_read(uint32_t address, void *data, int size)
{
    flash_read(flash_dev, flash_offset + address, data, size);
}
```

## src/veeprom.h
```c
#include <stdint.h>

void veeprom_init(void);
int veeprom_write(const void *data, int size);
void veeprom_read(uint32_t address, void *data, int size);
```
